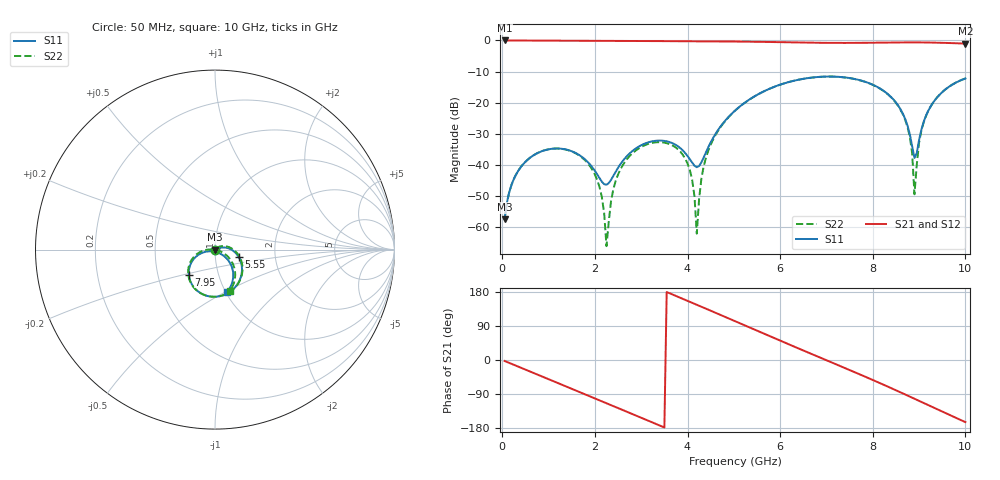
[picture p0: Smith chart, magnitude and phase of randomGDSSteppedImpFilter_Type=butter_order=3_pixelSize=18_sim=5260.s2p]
! freq	dB(S11)	phase(S11)	dB(S12)	phase(S12)
!  dB(S21)	phase(S21)	dB(S22)	phase(S22)
!S-par simulation data
#  GHz  S  DB  R 50
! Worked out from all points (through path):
!   200 points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, 50 MHz to 10 GHz, reference 50 ohm
!   highest |S21| = 0.00 dB at 50 MHz (marker M1); lowest = -1.0 dB at 10 GHz (marker M2)
!   group delay of S21, straight-line fit = 145 ps
!   lowest |S11| = -57.4 dB at 50 MHz (marker M3), VSWR 1.00, Z = 50 - j0.13 ohm
!   |S11| at or under -10 dB: start of sweep to end of sweep
!   |S22| runs from -66.1 to -11.6 dB; largest |S21 - S12| = 0
!   S11 on the Smith chart (normalised r, x): 50 MHz: 1.00, -0.00; 5.55 GHz: 1.30, -0.11; 7.95 GHz: 0.72, -0.21; 10 GHz: 1.02, -0.51
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0.05  -57.44 -74.8  -0.00 -2.6  -0.00 -2.6  -57.44 -74.5
0.6  -37.69 -122.2  -0.04 -30.4  -0.04 -30.4  -37.68 -120.5
1.75  -37.76 165.5  -0.10 -88.7  -0.10 -88.7  -38.00 178.8
2.1  -44.27 117.3  -0.12 -106.5  -0.12 -106.5  -47.14 158.6
2.25  -46.37 66.6  -0.13 -114.1  -0.13 -114.1  -66.12 86.0
2.35  -44.75 31.5  -0.14 -119.2  -0.14 -119.2  -51.44 -24.5
2.55  -39.78 -6.7  -0.15 -129.4  -0.15 -129.4  -41.46 -38.8
3.4  -32.18 -64.8  -0.21 -172.9  -0.21 -172.9  -32.70 -83.3
4  -37.14 -74.1  -0.25 156.1  -0.25 156.1  -39.57 -113.1
4.15  -40.28 -51.3  -0.27 148.4  -0.27 148.4  -50.11 -116.9
4.2  -40.74 -36.7  -0.27 145.8  -0.27 145.8  -62.09 -63.3
4.4  -35.88 9.9  -0.28 135.3  -0.28 135.3  -37.57 43.6
5.05  -22.21 4.9  -0.35 101.2  -0.35 101.2  -22.26 11.0
5.55  -17.10 -17.8  -0.44 74.8  -0.44 74.8  -17.11 -15.0
6.7  -11.90 -74.5  -0.73 14.8  -0.73 14.8  -11.91 -74.2
7.95  -13.91 -136.3  -0.73 -50.1  -0.73 -50.1  -13.94 -138.1
8.35  -17.56 -155.5  -0.66 -71.6  -0.66 -71.6  -17.63 -159.2
8.75  -27.35 -166.0  -0.61 -93.7  -0.61 -93.7  -27.84 179.8
8.9  -37.77 -115.9  -0.62 -102.2  -0.62 -102.2  -49.44 -134.6
9  -31.95 -45.0  -0.63 -107.8  -0.63 -107.8  -32.83 -17.2
9.15  -24.16 -35.7  -0.65 -116.3  -0.65 -116.3  -24.23 -24.3
10  -12.23 -73.9  -1.01 -163.9  -1.01 -163.9  -12.21 -70.7
